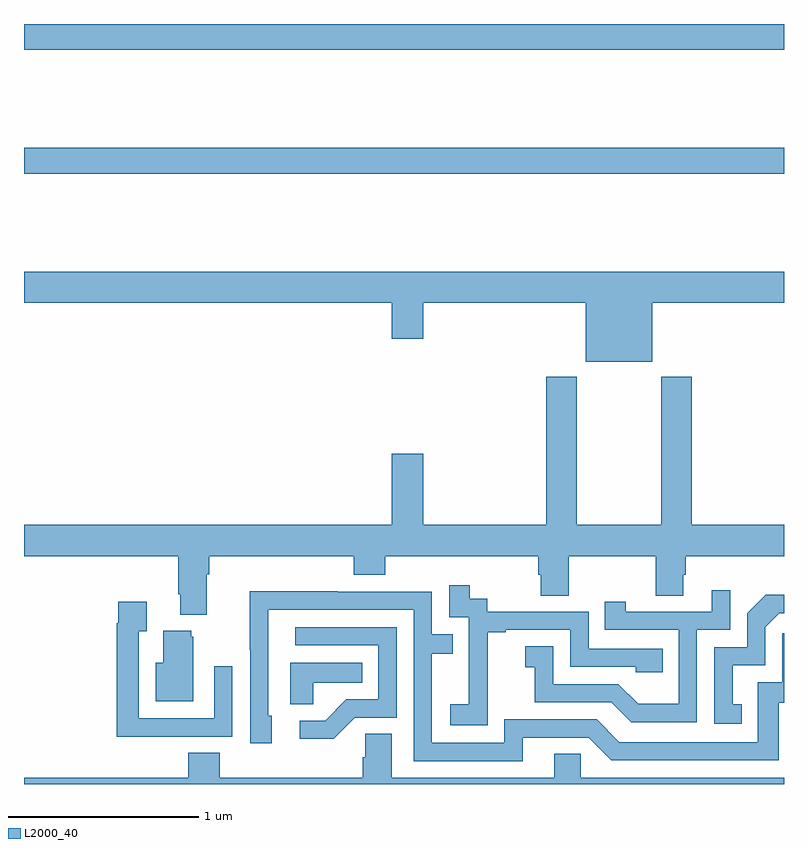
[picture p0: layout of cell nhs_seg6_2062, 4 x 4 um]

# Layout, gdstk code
import gdstk
lib = gdstk.Library(unit=1e-6, precision=1e-09)
def R(c, l, rs):  # rectangles x0, y0, x1, y1
    for r in rs: c.add(gdstk.rectangle(r[:2], r[2:], *l))
def P(c, l, *ps):  # polygons
    for p in ps: c.add(gdstk.Polygon(p, *l))
L2000_40 = (2000, 40)

nhs_seg6_2062 = lib.new_cell('nhs_seg6_2062')
R(nhs_seg6_2062, L2000_40, [(235,918.712,239,918.848), (235,919.364,239,919.5)])
P(nhs_seg6_2062, L2000_40, [(235,918.032),(236.936,918.032),(236.936,917.844),(237.1,917.844),(237.1,918.032),(237.956,918.032),(237.956,917.723),(238.306,917.723),(238.306,918.032),(239,918.032),(239,918.196),(235,918.196)],
  [(235.963,916.604),(235.976,916.604),(235.976,916.7),(236.735,916.7),(236.735,916.601),(236.9,916.601),(236.9,916.7),(237.707,916.7),(237.707,916.602),(237.719,916.602),(237.719,916.492),(237.867,916.492),(237.867,916.7),(238.324,916.7),(238.324,916.492),(238.471,916.492),(238.471,916.602),(238.484,916.602),(238.484,916.7),(239,916.7),(239,916.864),(238.514,916.864),(238.514,917.644),(238.354,917.644),(238.354,916.864),(237.909,916.864),(237.909,917.644),(237.749,917.644),(237.749,916.864),(237.1,916.864),(237.1,917.239),(236.936,917.239),(236.936,916.864),(235,916.864),(235,916.7),(235.811,916.7),(235.811,916.498),(235.823,916.498),(235.823,916.391),(235.963,916.391)],
  [(237.441,916.015),(237.44,916.015),(237.44,916.299),(237.535,916.299),(237.535,916.311),(237.876,916.311),(237.876,916.116),(238.221,916.116),(238.221,916.089),(238.361,916.089),(238.361,916.212),(237.972,916.212),(237.972,916.407),(237.438,916.407),(237.438,916.476),(237.346,916.476),(237.346,916.546),(237.237,916.546),(237.237,916.377),(237.342,916.377),(237.342,916.148),(237.341,916.148),(237.341,915.919),(237.243,915.919),(237.243,915.809),(237.441,915.809)],
  [(238.542,916.311),(238.716,916.311),(238.716,916.519),(238.619,916.519),(238.619,916.407),(238.168,916.407),(238.168,916.459),(238.057,916.459),(238.057,916.311),(238.446,916.311),(238.446,915.922),(238.232,915.922),(238.128,916.026),(237.786,916.026),(237.786,916.225),(237.639,916.225),(237.639,916.115),(237.688,916.115),(237.688,915.93),(238.091,915.93),(238.196,915.825),(238.542,915.825)],
  [(237.625,915.744),(237.972,915.744),(238.092,915.624),(238.972,915.624),(238.972,915.927),(239,915.927),(239,916.294),(238.992,916.294),(238.992,916.035),(238.863,916.035),(238.863,915.72),(238.134,915.72),(238.014,915.84),(237.528,915.84),(237.528,915.717),(237.147,915.717),(237.147,916.186),(237.257,916.186),(237.257,916.287),(237.147,916.287),(237.147,916.512),(236.651,916.512),(236.651,916.514),(236.188,916.514),(236.188,916.207),(236.19,916.207),(236.19,915.714),(236.305,915.714),(236.305,915.858),(236.286,915.858),(236.286,916.416),(237.051,916.416),(237.051,915.621),(237.625,915.621)],
  [(238.778,915.921),(238.729,915.921),(238.729,916.125),(238.902,916.125),(238.902,916.326),(238.974,916.398),(239,916.398),(239,916.496),(238.904,916.496),(238.806,916.398),(238.806,916.221),(238.632,916.221),(238.632,915.816),(238.778,915.816)],
  [(235.781,915.75),(236.097,915.75),(236.097,916.12),(236.001,916.12),(236.001,915.846),(235.605,915.846),(235.605,916.303),(235.645,916.303),(235.645,916.459),(235.497,916.459),(235.497,916.346),(235.489,916.346),(235.489,915.749),(235.781,915.749)],
  [(236.742,915.849),(236.961,915.849),(236.961,916.326),(236.427,916.326),(236.427,916.23),(236.865,916.23),(236.865,915.945),(236.696,915.945),(236.585,915.834),(236.451,915.834),(236.451,915.737),(236.629,915.737)],
  [(235.891,916.275),(235.88,916.275),(235.88,916.306),(235.733,916.306),(235.733,916.138),(235.694,916.138),(235.694,915.935),(235.891,915.935)],
  [(236.523,916.034),(236.78,916.034),(236.78,916.138),(236.402,916.138),(236.402,915.919),(236.523,915.919)],
  [(239,915.532),(237.93,915.532),(237.93,915.659),(237.791,915.659),(237.791,915.532),(236.935,915.532),(236.935,915.764),(236.796,915.764),(236.796,915.641),(236.783,915.641),(236.783,915.532),(236.03,915.532),(236.03,915.665),(235.865,915.665),(235.865,915.532),(235,915.532),(235,915.5),(239,915.5)])

lib.write_gds('nhs_seg6_2062.gds')
